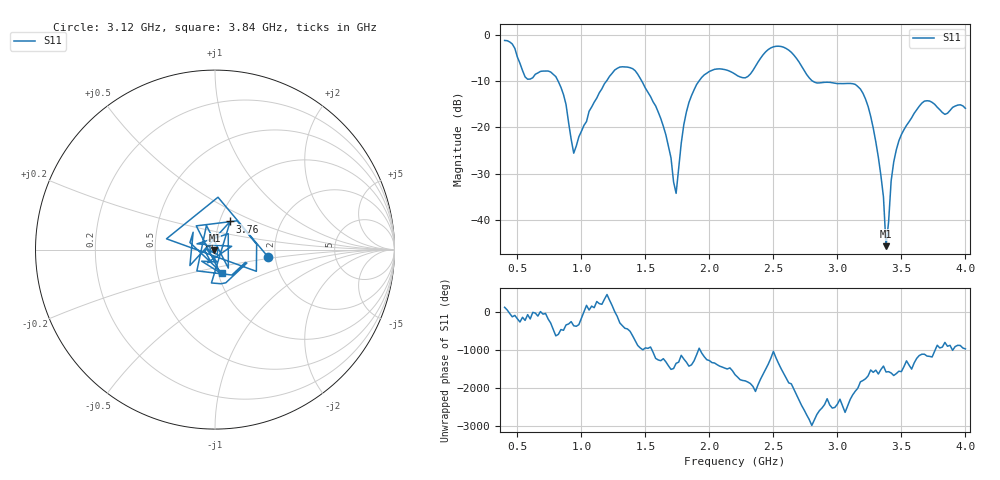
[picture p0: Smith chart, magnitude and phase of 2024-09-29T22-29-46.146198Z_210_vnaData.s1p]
!Created with skrf (http://scikit-rf.org).
# Hz S RI R 50.0
!freq ReS11 ImS11
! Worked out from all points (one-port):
!   181 points, 400 MHz to 4 GHz, reference 50 ohm
!   lowest |S11| = -45.7 dB at 3.38 GHz (marker M1), VSWR 1.01, Z = 49.7 - j0.396 ohm
!   |S11| at or under -10 dB: 818.6 MHz to 1.195 GHz (376.2 MHz wide, 37.4 % of centre); 1.472 GHz to 1.918 GHz (445.2 MHz wide, 26.3 % of centre); 2.809 GHz to end of sweep
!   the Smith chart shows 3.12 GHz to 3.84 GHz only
!   S11 on the Smith chart (normalised r, x): 3.12 GHz: 1.83, -0.16; 3.76 GHz: 1.12, +0.36; 3.84 GHz: 1.05, -0.28
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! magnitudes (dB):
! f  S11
! 400 MHz  -1.2
! 560 MHz  -9.1
! 760 MHz  -8.0
! 860 MHz  -12.9
! 940 MHz  -25.6
! 1.06 GHz  -16.5
! 1.3 GHz  -6.9
! 1.42 GHz  -7.7
! 1.58 GHz  -15.3
! 1.66 GHz  -21.6
! 1.74 GHz  -34.3
! 1.76 GHz  -29.0
! 1.82 GHz  -16.7
! 1.9 GHz  -10.7
! 2.2 GHz  -8.4
! 2.5 GHz  -2.5
! 2.66 GHz  -4.3
! 2.82 GHz  -10.2
! 3.1 GHz  -10.5
! 3.12 GHz  -10.5
! 3.28 GHz  -20.1
! 3.36 GHz  -35.1
! 3.38 GHz  -45.7
! 3.44 GHz  -27.5
! 3.56 GHz  -18.8
! 3.76 GHz  -15.0
! 3.84 GHz  -17.2
! 4 GHz  -15.9
